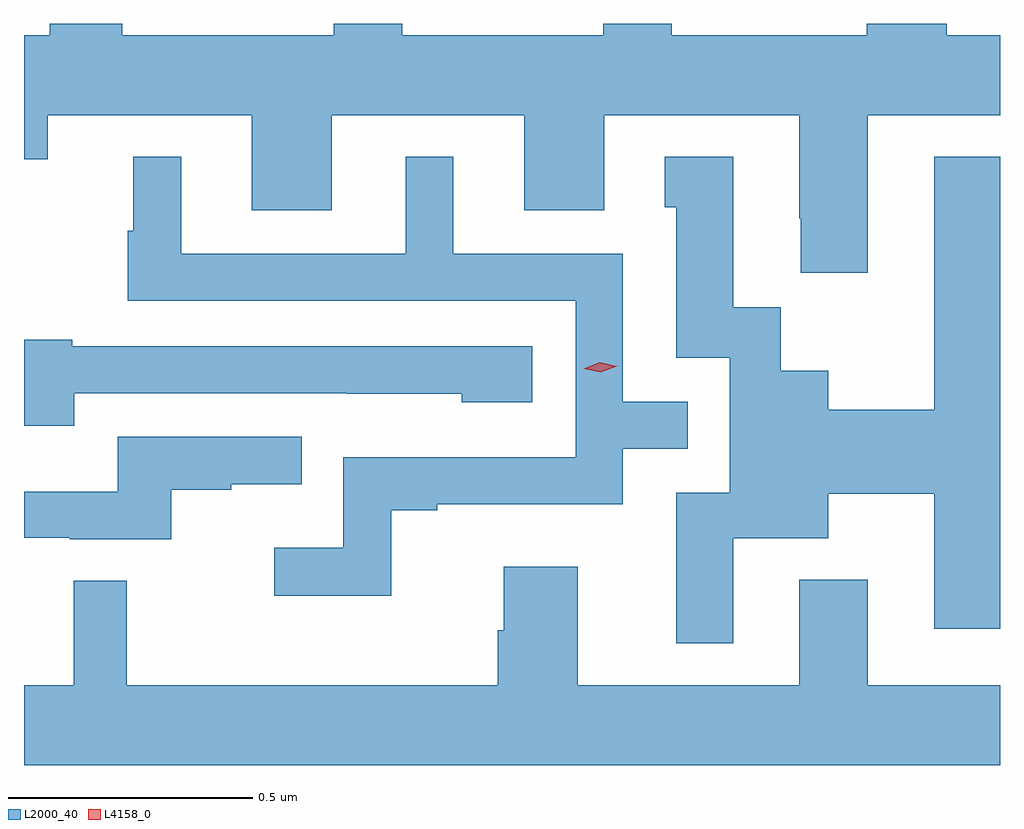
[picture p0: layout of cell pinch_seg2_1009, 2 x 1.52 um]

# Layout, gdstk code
import gdstk
lib = gdstk.Library(unit=1e-6, precision=1e-09)
def P(c, l, *ps):  # polygons
    for p in ps: c.add(gdstk.Polygon(p, *l))
L2000_40 = (2000, 40)
L4158_0 = (4158, 0)

pinch_seg2_1009 = lib.new_cell('pinch_seg2_1009')
P(pinch_seg2_1009, L2000_40, [(195.551,650.488),(195.551,650.464),(195.151,650.464),(195.151,650.488),(195.011,650.488),(195.011,650.464),(194.599,650.464),(194.599,650.488),(194.459,650.488),(194.459,650.464),(194.025,650.464),(194.025,650.488),(193.877,650.488),(193.877,650.464),(193.824,650.464),(193.824,650.21),(193.873,650.21),(193.873,650.3),(194.291,650.3),(194.291,650.106),(194.455,650.106),(194.455,650.3),(194.849,650.3),(194.849,650.106),(195.013,650.106),(195.013,650.3),(195.413,650.3),(195.413,650.089),(195.416,650.089),(195.416,649.977),(195.553,649.977),(195.553,650.3),(195.824,650.3),(195.824,650.464),(195.715,650.464),(195.715,650.488)],
  [(194.577,649.491),(194.671,649.491),(194.671,649.503),(195.051,649.503),(195.051,649.617),(195.184,649.617),(195.184,649.713),(195.051,649.713),(195.051,650.016),(194.704,650.016),(194.704,650.215),(194.606,650.215),(194.606,650.016),(194.146,650.016),(194.146,650.215),(194.048,650.215),(194.048,650.064),(194.037,650.064),(194.037,649.92),(194.955,649.92),(194.955,649.599),(194.478,649.599),(194.478,649.414),(194.337,649.414),(194.337,649.316),(194.577,649.316)],
  [(195.277,649.433),(195.472,649.433),(195.472,649.525),(195.689,649.525),(195.689,649.248),(195.824,649.248),(195.824,650.215),(195.689,650.215),(195.689,649.697),(195.472,649.697),(195.472,649.777),(195.375,649.777),(195.375,649.907),(195.277,649.907),(195.277,650.215),(195.137,650.215),(195.137,650.112),(195.161,650.112),(195.161,649.803),(195.27,649.803),(195.27,649.527),(195.161,649.527),(195.161,649.218),(195.277,649.218)],
  [(193.927,649.731),(194.485,649.731),(194.485,649.73),(194.721,649.73),(194.721,649.712),(194.866,649.712),(194.866,649.827),(193.923,649.827),(193.923,649.84),(193.824,649.84),(193.824,649.664),(193.927,649.664)],
  [(194.126,649.533),(194.249,649.533),(194.249,649.544),(194.393,649.544),(194.393,649.641),(194.016,649.641),(194.016,649.529),(193.824,649.529),(193.824,649.434),(193.918,649.434),(193.918,649.431),(194.126,649.431)],
  [(195.824,649.132),(195.553,649.132),(195.553,649.348),(195.413,649.348),(195.413,649.132),(194.959,649.132),(194.959,649.375),(194.807,649.375),(194.807,649.245),(194.795,649.245),(194.795,649.132),(194.035,649.132),(194.035,649.346),(193.926,649.346),(193.926,649.132),(193.824,649.132),(193.824,648.968),(195.824,648.968)])
P(pinch_seg2_1009, L4158_0, [(195.006,649.774),(194.971,649.781),(194.97,649.781),(194.971,649.781),(195.004,649.794),(195.039,649.786),(195.04,649.786),(195.039,649.786)])

lib.write_gds('pinch_seg2_1009.gds')
